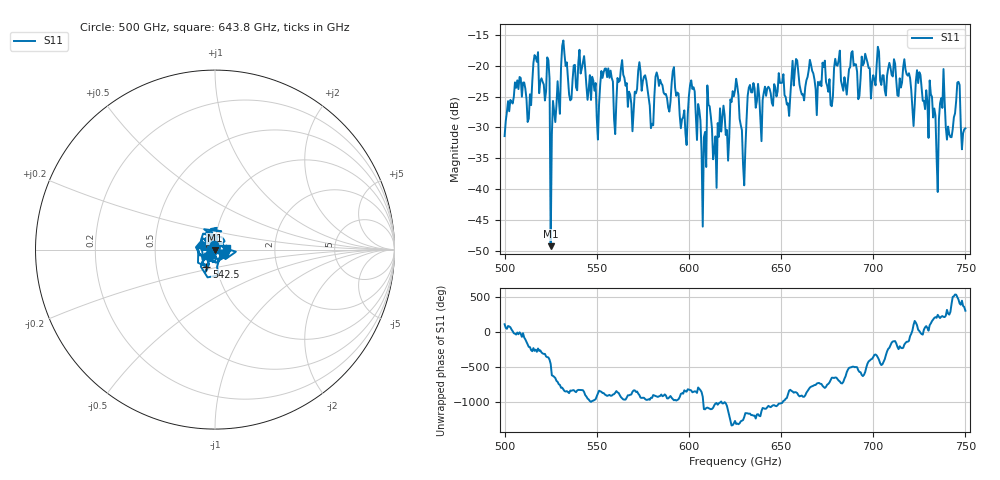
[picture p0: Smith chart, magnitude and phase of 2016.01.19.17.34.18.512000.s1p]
!Created with skrf (http://scikit-rf.org).
# GHz S RI R 50.0
!freq ReS11 ImS11
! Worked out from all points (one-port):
!   401 points, 500 GHz to 750 GHz, reference 50 ohm
!   lowest |S11| = -49.2 dB at 525 GHz (marker M1), VSWR 1.01, Z = 49.9 - j0.337 ohm
!   |S11| at or under -10 dB: start of sweep to end of sweep
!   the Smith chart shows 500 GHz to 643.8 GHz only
!   S11 on the Smith chart (normalised r, x): 500 GHz: 0.99, +0.05; 542.5 GHz: 0.89, -0.17; 643.8 GHz: 1.14, +0.02
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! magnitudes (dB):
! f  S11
! 500 GHz  -31.4
! 506.9 GHz  -22.4
! 513.1 GHz  -28.6
! 516.9 GHz  -18.6
! 523.1 GHz  -18.7
! 525 GHz  -49.2
! 526.2 GHz  -25.7
! 531.2 GHz  -16.8
! 542.5 GHz  -19.4
! 550 GHz  -28.4
! 562.5 GHz  -22.4
! 593.8 GHz  -24.4
! 597.5 GHz  -27.2
! 601.9 GHz  -23.8
! 608.1 GHz  -31.6
! 611.2 GHz  -26.6
! 613.8 GHz  -33.7
! 625 GHz  -24.0
! 629.4 GHz  -36.1
! 633.8 GHz  -24.3
! 643.8 GHz  -23.7
! 656.2 GHz  -19.2
! 687.5 GHz  -20.2
! 718.8 GHz  -21.6
! 731.9 GHz  -25.1
! 733.8 GHz  -28.1
! 737.5 GHz  -26.8
! 750 GHz  -30.2
